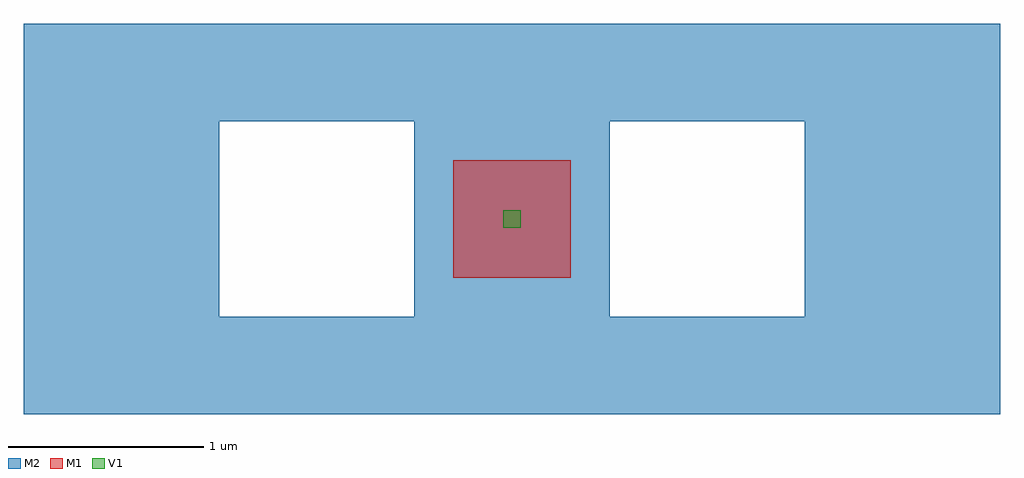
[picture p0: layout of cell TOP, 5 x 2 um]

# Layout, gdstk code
import gdstk
lib = gdstk.Library(unit=1e-6, precision=1e-09)
def R(c, l, rs):  # rectangles x0, y0, x1, y1
    for r in rs: c.add(gdstk.rectangle(r[:2], r[2:], *l))
def A(c, l, x, y, w, h, nx, ny, dx, dy):  # array of equal rectangles
    R(c, l, [(x+i*dx, y+j*dy, x+i*dx+w, y+j*dy+h) for i in range(nx) for j in range(ny)])
M1 = (81, 1)
M2 = (82, 1)
V1 = (91, 1)

top = lib.new_cell('TOP')
R(top, M1, [(2.2,0.7,2.8,1.3)])
A(top, M2, 0, 0.5, 1, 1, 3, 1, 2, 0)
R(top, M2, [(0,0,5,0.5), (0,1.5,5,2)])
R(top, V1, [(2.455,0.955,2.545,1.045)])

lib.write_gds('TOP.gds')
